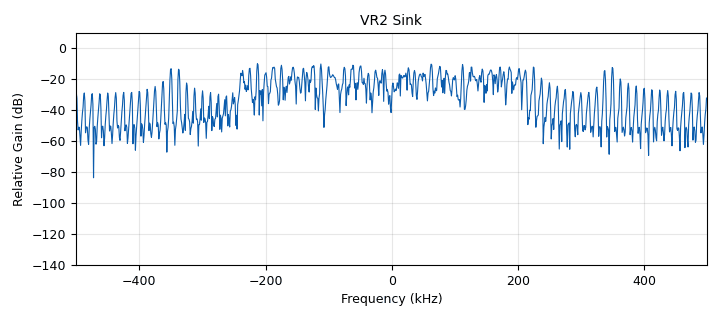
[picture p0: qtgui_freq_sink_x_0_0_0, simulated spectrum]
<?xml version='1.0' encoding='utf-8'?>
<?grc format='1' created='3.7.10'?>
<flow_graph>
<block>
<key>options</key>
<param><key>id</key><value>hydra_dump_to_files</value></param>
<param><key>category</key><value>Custom</value></param>
<param><key>description</key><value>Example of an OFDM Transmitter</value></param>
<param><key>generate_options</key><value>qt_gui</value></param>
<param><key>run_options</key><value>run</value></param>
<param><key>title</key><value>OFDM Tx</value></param>
</block>
<block>
<key>variable_qtgui_range</key>
<param><key>id</key><value>amplitude1</value></param>
<param><key>value</key><value>1.0</value></param>
<param><key>label</key><value>amplitude1</value></param>
<param><key>orient</key><value>Qt.Horizontal</value></param>
<param><key>start</key><value>0.0</value></param>
<param><key>step</key><value>0.01</value></param>
<param><key>stop</key><value>1.0</value></param>
</block>
<block>
<key>variable_qtgui_range</key>
<param><key>id</key><value>amplitude2</value></param>
<param><key>value</key><value>1.0</value></param>
<param><key>label</key><value>amplitude2</value></param>
<param><key>orient</key><value>Qt.Horizontal</value></param>
<param><key>start</key><value>0</value></param>
<param><key>step</key><value>0.01</value></param>
<param><key>stop</key><value>1.0</value></param>
</block>
<block>
<key>variable</key>
<param><key>id</key><value>fft_len</value></param>
<param><key>value</key><value>128</value></param>
</block>
<block>
<key>variable</key>
<param><key>id</key><value>length_tag_key</value></param>
<param><key>value</key><value>"packet_len"</value></param>
</block>
<block>
<key>variable</key>
<param><key>id</key><value>occupied_carriers</value></param>
<param><key>value</key><value>(sorted(tuple(set([x for x in range(-26,27)]) - set(pilot_carriers[0]) - set([0,]))),)</value></param>
</block>
<block>
<key>variable</key>
<param><key>id</key><value>packet_len</value></param>
<param><key>value</key><value>100</value></param>
</block>
<block>
<key>variable</key>
<param><key>id</key><value>pattern1</value></param>
<param><key>value</key><value>[0., 1.41421356, 0., -1.41421356]</value></param>
</block>
<block>
<key>variable</key>
<param><key>id</key><value>pattern2</value></param>
<param><key>value</key><value>[1, -1, 1, -1]</value></param>
</block>
<block>
<key>variable</key>
<param><key>id</key><value>pilot_carriers</value></param>
<param><key>value</key><value>((-42, -14, -7, 7, 14, 42),)</value></param>
</block>
<block>
<key>variable</key>
<param><key>id</key><value>pilot_symbols</value></param>
<param><key>value</key><value>((-1,1, 1, -1, -1, -1),)</value></param>
</block>
<block>
<key>variable</key>
<param><key>id</key><value>sync_word1</value></param>
<param><key>value</key><value>[0., 0., 0., 0., 0., 0.,] + pattern1 * ((fft_len-12)/len(pattern1))  +[0., 0., 0., 0., 0., 0.,] </value></param>
</block>
<block>
<key>variable</key>
<param><key>id</key><value>sync_word2</value></param>
<param><key>value</key><value>[0., 0., 0., 0., 0., 0.,] + pattern2 * ((fft_len-12)/len(pattern2))  +[0., 0., 0., 0., 0., 0.,] </value></param>
</block>
<block>
<key>parameter</key>
<param><key>id</key><value>amplitude1</value></param>
<param><key>_enabled</key><value>0</value></param>
<param><key>label</key><value>amplitude1</value></param>
<param><key>type</key><value>eng_float</value></param>
<param><key>value</key><value>0.1</value></param>
</block>
<block>
<key>parameter</key>
<param><key>id</key><value>amplitude2</value></param>
<param><key>_enabled</key><value>0</value></param>
<param><key>label</key><value>amplitude2</value></param>
<param><key>type</key><value>eng_float</value></param>
<param><key>value</key><value>0.1</value></param>
</block>
<block>
<key>analog_random_source_x</key>
<param><key>id</key><value>analog_random_source_x_0</value></param>
<param><key>max</key><value>5</value></param>
<param><key>min</key><value>0</value></param>
<param><key>num_samps</key><value>1000</value></param>
<param><key>type</key><value>byte</value></param>
<param><key>repeat</key><value>True</value></param>
</block>
<block>
<key>analog_random_source_x</key>
<param><key>id</key><value>analog_random_source_x_0_1</value></param>
<param><key>max</key><value>10</value></param>
<param><key>min</key><value>5</value></param>
<param><key>num_samps</key><value>1000</value></param>
<param><key>type</key><value>byte</value></param>
<param><key>repeat</key><value>True</value></param>
</block>
<block>
<key>blocks_file_sink</key>
<param><key>id</key><value>blocks_file_sink_0</value></param>
<param><key>file</key><value>filepattern + "-pre-vr1.bin"</value></param>
<param><key>type</key><value>complex</value></param>
</block>
<block>
<key>blocks_file_sink</key>
<param><key>id</key><value>blocks_file_sink_0_0</value></param>
<param><key>file</key><value>filepattern + "-pre-vr2.bin"</value></param>
<param><key>type</key><value>complex</value></param>
</block>
<block>
<key>blocks_file_sink</key>
<param><key>id</key><value>blocks_file_sink_0_0_0</value></param>
<param><key>file</key><value>filepattern + "-pos-vr2.bin"</value></param>
<param><key>type</key><value>complex</value></param>
</block>
<block>
<key>blocks_file_sink</key>
<param><key>id</key><value>blocks_file_sink_0_0_0_0</value></param>
<param><key>file</key><value>filepattern + "-pos-vr1.bin"</value></param>
<param><key>type</key><value>complex</value></param>
</block>
<block>
<key>blocks_head</key>
<param><key>id</key><value>blocks_head_0</value></param>
<param><key>num_items</key><value>int(50e6)</value></param>
<param><key>type</key><value>complex</value></param>
</block>
<block>
<key>blocks_head</key>
<param><key>id</key><value>blocks_head_0_0</value></param>
<param><key>num_items</key><value>int(50e6)</value></param>
<param><key>type</key><value>complex</value></param>
</block>
<block>
<key>blocks_keep_m_in_n</key>
<param><key>id</key><value>blocks_keep_m_in_n_0</value></param>
<param><key>_enabled</key><value>2</value></param>
<param><key>m</key><value>vr1fft</value></param>
<param><key>n</key><value>fftm</value></param>
<param><key>type</key><value>complex</value></param>
<param><key>offset</key><value>vr1offset</value></param>
</block>
<block>
<key>blocks_keep_m_in_n</key>
<param><key>id</key><value>blocks_keep_m_in_n_0_0</value></param>
<param><key>_enabled</key><value>2</value></param>
<param><key>m</key><value>vr2fft</value></param>
<param><key>n</key><value>fftm</value></param>
<param><key>type</key><value>complex</value></param>
<param><key>offset</key><value>vr2offset</value></param>
</block>
<block>
<key>blocks_multiply_const_vxx</key>
<param><key>id</key><value>blocks_multiply_const_vxx_0</value></param>
<param><key>const</key><value>amplitude1</value></param>
<param><key>type</key><value>complex</value></param>
</block>
<block>
<key>blocks_multiply_const_vxx</key>
<param><key>id</key><value>blocks_multiply_const_vxx_0_0</value></param>
<param><key>const</key><value>amplitude2</value></param>
<param><key>type</key><value>complex</value></param>
</block>
<block>
<key>blocks_multiply_const_vxx</key>
<param><key>id</key><value>blocks_multiply_const_vxx_1</value></param>
<param><key>const</key><value>1.0/vr1fft</value></param>
<param><key>_enabled</key><value>2</value></param>
<param><key>type</key><value>complex</value></param>
</block>
<block>
<key>blocks_multiply_const_vxx</key>
<param><key>id</key><value>blocks_multiply_const_vxx_1_0</value></param>
<param><key>const</key><value>1.0/vr2fft</value></param>
<param><key>_enabled</key><value>2</value></param>
<param><key>type</key><value>complex</value></param>
</block>
<block>
<key>blocks_stream_to_tagged_stream</key>
<param><key>id</key><value>blocks_stream_to_tagged_stream_0</value></param>
<param><key>len_tag_key</key><value>length_tag_key</value></param>
<param><key>packet_len</key><value>packet_len</value></param>
<param><key>type</key><value>byte</value></param>
</block>
<block>
<key>blocks_stream_to_tagged_stream</key>
<param><key>id</key><value>blocks_stream_to_tagged_stream_0_1</value></param>
<param><key>len_tag_key</key><value>length_tag_key</value></param>
<param><key>packet_len</key><value>packet_len/2</value></param>
<param><key>type</key><value>byte</value></param>
</block>
<block>
<key>blocks_stream_to_vector</key>
<param><key>id</key><value>blocks_stream_to_vector_0</value></param>
<param><key>_enabled</key><value>2</value></param>
<param><key>type</key><value>complex</value></param>
<param><key>num_items</key><value>fftm</value></param>
</block>
<block>
<key>blocks_stream_to_vector</key>
<param><key>id</key><value>blocks_stream_to_vector_0_0</value></param>
<param><key>_enabled</key><value>2</value></param>
<param><key>type</key><value>complex</value></param>
<param><key>num_items</key><value>vr1fft</value></param>
</block>
<block>
<key>blocks_stream_to_vector</key>
<param><key>id</key><value>blocks_stream_to_vector_0_0_0</value></param>
<param><key>_enabled</key><value>2</value></param>
<param><key>type</key><value>complex</value></param>
<param><key>num_items</key><value>vr2fft</value></param>
</block>
<block>
<key>blocks_stream_to_vector</key>
<param><key>id</key><value>blocks_stream_to_vector_0_1</value></param>
<param><key>_enabled</key><value>2</value></param>
<param><key>type</key><value>complex</value></param>
<param><key>num_items</key><value>fftm</value></param>
</block>
<block>
<key>blocks_throttle</key>
<param><key>id</key><value>blocks_throttle_0</value></param>
<param><key>samples_per_second</key><value>6e6</value></param>
<param><key>type</key><value>complex</value></param>
</block>
<block>
<key>blocks_throttle</key>
<param><key>id</key><value>blocks_throttle_1</value></param>
<param><key>samples_per_second</key><value>6e6</value></param>
<param><key>type</key><value>complex</value></param>
</block>
<block>
<key>blocks_vector_to_stream</key>
<param><key>id</key><value>blocks_vector_to_stream_0</value></param>
<param><key>_enabled</key><value>2</value></param>
<param><key>type</key><value>complex</value></param>
<param><key>num_items</key><value>fftm</value></param>
</block>
<block>
<key>blocks_vector_to_stream</key>
<param><key>id</key><value>blocks_vector_to_stream_0_0</value></param>
<param><key>_enabled</key><value>2</value></param>
<param><key>type</key><value>complex</value></param>
<param><key>num_items</key><value>vr1fft</value></param>
</block>
<block>
<key>blocks_vector_to_stream</key>
<param><key>id</key><value>blocks_vector_to_stream_0_0_0</value></param>
<param><key>_enabled</key><value>2</value></param>
<param><key>type</key><value>complex</value></param>
<param><key>num_items</key><value>vr2fft</value></param>
</block>
<block>
<key>blocks_vector_to_stream</key>
<param><key>id</key><value>blocks_vector_to_stream_0_1</value></param>
<param><key>_enabled</key><value>2</value></param>
<param><key>type</key><value>complex</value></param>
<param><key>num_items</key><value>fftm</value></param>
</block>
<block>
<key>digital_ofdm_tx</key>
<param><key>id</key><value>digital_ofdm_tx_0</value></param>
<param><key>cp_len</key><value>16</value></param>
<param><key>fft_len</key><value>128</value></param>
<param><key>header_mod</key><value>"BPSK"</value></param>
<param><key>packet_len_key</key><value>length_tag_key</value></param>
<param><key>occupied_carriers</key><value>(sorted(tuple(set([x for x in range(-60,60)]) - set(pilot_carriers[0]) - set([0,]))),)</value></param>
<param><key>payload_mod</key><value>"BPSK"</value></param>
<param><key>pilot_carriers</key><value>pilot_carriers</value></param>
<param><key>pilot_symbols</key><value>pilot_symbols</value></param>
<param><key>rolloff</key><value>0</value></param>
<param><key>sync_word1</key><value>sync_word1</value></param>
<param><key>sync_word2</key><value>sync_word2</value></param>
</block>
<block>
<key>digital_ofdm_tx</key>
<param><key>id</key><value>digital_ofdm_tx_0_1</value></param>
<param><key>cp_len</key><value>16</value></param>
<param><key>fft_len</key><value>64</value></param>
<param><key>header_mod</key><value>"BPSK"</value></param>
<param><key>packet_len_key</key><value>length_tag_key</value></param>
<param><key>occupied_carriers</key><value>(sorted(tuple(set([x for x in range(-15,15)]) - set(pilot_carriers[0]) - set([0,]))),)</value></param>
<param><key>payload_mod</key><value>"BPSK"</value></param>
<param><key>pilot_carriers</key><value>pilot_carriers</value></param>
<param><key>pilot_symbols</key><value>pilot_symbols</value></param>
<param><key>rolloff</key><value>0</value></param>
<param><key>sync_word1</key><value>[0., 0., 0., 0., 0., 0.,] + pattern1 * ((64-12)/len(pattern1))  +[0., 0., 0., 0., 0., 0.,] </value></param>
<param><key>sync_word2</key><value>[0., 0., 0., 0., 0., 0.,] + pattern2 * ((64-12)/len(pattern2))  +[0., 0., 0., 0., 0., 0.,] </value></param>
</block>
<block>
<key>fft_vxx</key>
<param><key>id</key><value>fft_vxx_0</value></param>
<param><key>_enabled</key><value>2</value></param>
<param><key>fft_size</key><value>fftm</value></param>
<param><key>forward</key><value>True</value></param>
<param><key>type</key><value>complex</value></param>
<param><key>shift</key><value>True</value></param>
<param><key>window</key><value>window.blackmanharris(fftm)</value></param>
</block>
<block>
<key>fft_vxx</key>
<param><key>id</key><value>fft_vxx_0_0</value></param>
<param><key>_enabled</key><value>2</value></param>
<param><key>fft_size</key><value>vr1fft</value></param>
<param><key>forward</key><value>False</value></param>
<param><key>type</key><value>complex</value></param>
<param><key>shift</key><value>True</value></param>
<param><key>window</key><value>window.rectangular(vr1fft)</value></param>
</block>
<block>
<key>fft_vxx</key>
<param><key>id</key><value>fft_vxx_0_0_0</value></param>
<param><key>_enabled</key><value>2</value></param>
<param><key>fft_size</key><value>vr2fft</value></param>
<param><key>forward</key><value>False</value></param>
<param><key>type</key><value>complex</value></param>
<param><key>shift</key><value>True</value></param>
<param><key>window</key><value>window.rectangular(vr2fft)</value></param>
</block>
<block>
<key>fft_vxx</key>
<param><key>id</key><value>fft_vxx_0_1</value></param>
<param><key>_enabled</key><value>2</value></param>
<param><key>fft_size</key><value>fftm</value></param>
<param><key>forward</key><value>True</value></param>
<param><key>type</key><value>complex</value></param>
<param><key>shift</key><value>True</value></param>
<param><key>window</key><value>window.blackmanharris(fftm)</value></param>
</block>
<block>
<key>parameter</key>
<param><key>id</key><value>fftm</value></param>
<param><key>label</key><value>fftm</value></param>
<param><key>type</key><value>intx</value></param>
<param><key>value</key><value>128</value></param>
</block>
<block>
<key>parameter</key>
<param><key>id</key><value>filepattern</value></param>
<param><key>label</key><value>filepattern</value></param>
<param><key>type</key><value>string</value></param>
<param><key>value</key><value>"./"</value></param>
</block>
<block>
<key>parameter</key>
<param><key>id</key><value>freq</value></param>
<param><key>label</key><value>freq</value></param>
<param><key>value</key><value>950e6</value></param>
</block>
<block>
<key>parameter</key>
<param><key>id</key><value>freq1</value></param>
<param><key>label</key><value>freq1</value></param>
<param><key>value</key><value>947.5e6</value></param>
</block>
<block>
<key>parameter</key>
<param><key>id</key><value>freq2</value></param>
<param><key>label</key><value>freq2</value></param>
<param><key>value</key><value>951e6</value></param>
</block>
<block>
<key>hydra_hydra_sink</key>
<param><key>id</key><value>hydra_hydra_sink_0</value></param>
<param><key>bandwidth</key><value>samprate</value></param>
<param><key>central_frequency</key><value>freq</value></param>
<param><key>fft_m_size</key><value>fftm</value></param>
<param><key>center_freq1</key><value>freq</value></param>
<param><key>center_freq2</key><value>freq2</value></param>
<param><key>center_freq3</key><value></value></param>
<param><key>center_freq4</key><value></value></param>
<param><key>num_inputs</key><value>1</value></param>
<param><key>samprate1</key><value>samprate</value></param>
<param><key>samprate2</key><value>samprate2</value></param>
<param><key>samprate3</key><value></value></param>
<param><key>samprate4</key><value></value></param>
</block>
<block>
<key>qtgui_freq_sink_x</key>
<param><key>id</key><value>qtgui_freq_sink_x_0</value></param>
<param><key>bw</key><value>1e6</value></param>
<param><key>fc</key><value>0</value></param>
<param><key>_enabled</key><value>0</value></param>
<param><key>fftsize</key><value>1024</value></param>
<param><key>showports</key><value>True</value></param>
<param><key>type</key><value>complex</value></param>
<param><key>wintype</key><value>firdes.WIN_BLACKMAN_hARRIS</value></param>
</block>
<block>
<key>qtgui_freq_sink_x</key>
<param><key>id</key><value>qtgui_freq_sink_x_0_0</value></param>
<param><key>bw</key><value>1e6</value></param>
<param><key>fc</key><value>0</value></param>
<param><key>fftsize</key><value>1024</value></param>
<param><key>name</key><value>"VR1 Sink"</value></param>
<param><key>showports</key><value>True</value></param>
<param><key>type</key><value>complex</value></param>
<param><key>wintype</key><value>firdes.WIN_BLACKMAN_hARRIS</value></param>
</block>
<block>
<key>qtgui_freq_sink_x</key>
<param><key>id</key><value>qtgui_freq_sink_x_0_0_0</value></param>
<param><key>bw</key><value>1e6</value></param>
<param><key>fc</key><value>0</value></param>
<param><key>fftsize</key><value>1024</value></param>
<param><key>name</key><value>"VR2 Sink"</value></param>
<param><key>showports</key><value>True</value></param>
<param><key>type</key><value>complex</value></param>
<param><key>wintype</key><value>firdes.WIN_BLACKMAN_hARRIS</value></param>
</block>
<block>
<key>parameter</key>
<param><key>id</key><value>samprate</value></param>
<param><key>label</key><value>samprate</value></param>
<param><key>value</key><value>6e6</value></param>
</block>
<block>
<key>parameter</key>
<param><key>id</key><value>samprate1</value></param>
<param><key>label</key><value>samprate1</value></param>
<param><key>value</key><value>1e6</value></param>
</block>
<block>
<key>parameter</key>
<param><key>id</key><value>samprate2</value></param>
<param><key>label</key><value>samprate2</value></param>
<param><key>value</key><value>500e3</value></param>
</block>
<block>
<key>virtual_sink</key>
<param><key>id</key><value>virtual_sink_0</value></param>
<param><key>stream_id</key><value>VR1</value></param>
</block>
<block>
<key>virtual_sink</key>
<param><key>id</key><value>virtual_sink_0_1</value></param>
<param><key>stream_id</key><value>VR2</value></param>
</block>
<block>
<key>virtual_sink</key>
<param><key>id</key><value>virtual_sink_0_1_0</value></param>
<param><key>stream_id</key><value>Hydra output</value></param>
</block>
<block>
<key>virtual_source</key>
<param><key>id</key><value>virtual_source_0</value></param>
<param><key>stream_id</key><value>VR1</value></param>
</block>
<block>
<key>virtual_source</key>
<param><key>id</key><value>virtual_source_0_1</value></param>
<param><key>stream_id</key><value>VR2</value></param>
</block>
<block>
<key>virtual_source</key>
<param><key>id</key><value>virtual_source_0_1_0</value></param>
<param><key>stream_id</key><value>Hydra output</value></param>
</block>
<block>
<key>virtual_source</key>
<param><key>id</key><value>virtual_source_0_1_0_0</value></param>
<param><key>_enabled</key><value>0</value></param>
<param><key>stream_id</key><value>Hydra output</value></param>
</block>
<block>
<key>parameter</key>
<param><key>id</key><value>vr1fft</value></param>
<param><key>label</key><value>vr1fft</value></param>
<param><key>type</key><value>intx</value></param>
<param><key>value</key><value>512</value></param>
</block>
<block>
<key>parameter</key>
<param><key>id</key><value>vr1offset</value></param>
<param><key>label</key><value>vr1offset</value></param>
<param><key>type</key><value>intx</value></param>
<param><key>value</key><value>0</value></param>
</block>
<block>
<key>parameter</key>
<param><key>id</key><value>vr2fft</value></param>
<param><key>label</key><value>vr2fft</value></param>
<param><key>type</key><value>intx</value></param>
<param><key>value</key><value>512</value></param>
</block>
<block>
<key>parameter</key>
<param><key>id</key><value>vr2offset</value></param>
<param><key>label</key><value>vr2offset</value></param>
<param><key>type</key><value>intx</value></param>
<param><key>value</key><value>319</value></param>
</block>
<connection><source_block_id>analog_random_source_x_0</source_block_id><sink_block_id>blocks_stream_to_tagged_stream_0</sink_block_id><source_key>0</source_key><sink_key>0</sink_key></connection>
<connection><source_block_id>analog_random_source_x_0_1</source_block_id><sink_block_id>blocks_stream_to_tagged_stream_0_1</sink_block_id><source_key>0</source_key><sink_key>0</sink_key></connection>
<connection><source_block_id>blocks_head_0</source_block_id><sink_block_id>blocks_throttle_0</sink_block_id><source_key>0</source_key><sink_key>0</sink_key></connection>
<connection><source_block_id>blocks_head_0</source_block_id><sink_block_id>qtgui_freq_sink_x_0</sink_block_id><source_key>0</source_key><sink_key>0</sink_key></connection>
<connection><source_block_id>blocks_head_0_0</source_block_id><sink_block_id>virtual_sink_0_1</sink_block_id><source_key>0</source_key><sink_key>0</sink_key></connection>
<connection><source_block_id>blocks_keep_m_in_n_0</source_block_id><sink_block_id>blocks_stream_to_vector_0_0</sink_block_id><source_key>0</source_key><sink_key>0</sink_key></connection>
<connection><source_block_id>blocks_keep_m_in_n_0_0</source_block_id><sink_block_id>blocks_stream_to_vector_0_0_0</sink_block_id><source_key>0</source_key><sink_key>0</sink_key></connection>
<connection><source_block_id>blocks_multiply_const_vxx_0</source_block_id><sink_block_id>virtual_sink_0</sink_block_id><source_key>0</source_key><sink_key>0</sink_key></connection>
<connection><source_block_id>blocks_multiply_const_vxx_0_0</source_block_id><sink_block_id>blocks_throttle_1</sink_block_id><source_key>0</source_key><sink_key>0</sink_key></connection>
<connection><source_block_id>blocks_multiply_const_vxx_1</source_block_id><sink_block_id>blocks_file_sink_0_0_0_0</sink_block_id><source_key>0</source_key><sink_key>0</sink_key></connection>
<connection><source_block_id>blocks_multiply_const_vxx_1</source_block_id><sink_block_id>qtgui_freq_sink_x_0_0</sink_block_id><source_key>0</source_key><sink_key>0</sink_key></connection>
<connection><source_block_id>blocks_multiply_const_vxx_1_0</source_block_id><sink_block_id>blocks_file_sink_0_0_0</sink_block_id><source_key>0</source_key><sink_key>0</sink_key></connection>
<connection><source_block_id>blocks_multiply_const_vxx_1_0</source_block_id><sink_block_id>qtgui_freq_sink_x_0_0_0</sink_block_id><source_key>0</source_key><sink_key>0</sink_key></connection>
<connection><source_block_id>blocks_stream_to_tagged_stream_0</source_block_id><sink_block_id>digital_ofdm_tx_0</sink_block_id><source_key>0</source_key><sink_key>0</sink_key></connection>
<connection><source_block_id>blocks_stream_to_tagged_stream_0_1</source_block_id><sink_block_id>digital_ofdm_tx_0_1</sink_block_id><source_key>0</source_key><sink_key>0</sink_key></connection>
<connection><source_block_id>blocks_stream_to_vector_0</source_block_id><sink_block_id>fft_vxx_0</sink_block_id><source_key>0</source_key><sink_key>0</sink_key></connection>
<connection><source_block_id>blocks_stream_to_vector_0_0</source_block_id><sink_block_id>fft_vxx_0_0</sink_block_id><source_key>0</source_key><sink_key>0</sink_key></connection>
<connection><source_block_id>blocks_stream_to_vector_0_0_0</source_block_id><sink_block_id>fft_vxx_0_0_0</sink_block_id><source_key>0</source_key><sink_key>0</sink_key></connection>
<connection><source_block_id>blocks_stream_to_vector_0_1</source_block_id><sink_block_id>fft_vxx_0_1</sink_block_id><source_key>0</source_key><sink_key>0</sink_key></connection>
<connection><source_block_id>blocks_throttle_0</source_block_id><sink_block_id>virtual_sink_0_1_0</sink_block_id><source_key>0</source_key><sink_key>0</sink_key></connection>
<connection><source_block_id>blocks_throttle_1</source_block_id><sink_block_id>blocks_head_0_0</sink_block_id><source_key>0</source_key><sink_key>0</sink_key></connection>
<connection><source_block_id>blocks_vector_to_stream_0</source_block_id><sink_block_id>blocks_keep_m_in_n_0</sink_block_id><source_key>0</source_key><sink_key>0</sink_key></connection>
<connection><source_block_id>blocks_vector_to_stream_0_0</source_block_id><sink_block_id>blocks_multiply_const_vxx_1</sink_block_id><source_key>0</source_key><sink_key>0</sink_key></connection>
<connection><source_block_id>blocks_vector_to_stream_0_0_0</source_block_id><sink_block_id>blocks_multiply_const_vxx_1_0</sink_block_id><source_key>0</source_key><sink_key>0</sink_key></connection>
<connection><source_block_id>blocks_vector_to_stream_0_1</source_block_id><sink_block_id>blocks_keep_m_in_n_0_0</sink_block_id><source_key>0</source_key><sink_key>0</sink_key></connection>
<connection><source_block_id>digital_ofdm_tx_0</source_block_id><sink_block_id>blocks_multiply_const_vxx_0</sink_block_id><source_key>0</source_key><sink_key>0</sink_key></connection>
<connection><source_block_id>digital_ofdm_tx_0_1</source_block_id><sink_block_id>blocks_multiply_const_vxx_0_0</sink_block_id><source_key>0</source_key><sink_key>0</sink_key></connection>
<connection><source_block_id>fft_vxx_0</source_block_id><sink_block_id>blocks_vector_to_stream_0</sink_block_id><source_key>0</source_key><sink_key>0</sink_key></connection>
<connection><source_block_id>fft_vxx_0_0</source_block_id><sink_block_id>blocks_vector_to_stream_0_0</sink_block_id><source_key>0</source_key><sink_key>0</sink_key></connection>
<connection><source_block_id>fft_vxx_0_0_0</source_block_id><sink_block_id>blocks_vector_to_stream_0_0_0</sink_block_id><source_key>0</source_key><sink_key>0</sink_key></connection>
<connection><source_block_id>fft_vxx_0_1</source_block_id><sink_block_id>blocks_vector_to_stream_0_1</sink_block_id><source_key>0</source_key><sink_key>0</sink_key></connection>
<connection><source_block_id>hydra_hydra_sink_0</source_block_id><sink_block_id>blocks_head_0</sink_block_id><source_key>0</source_key><sink_key>0</sink_key></connection>
<connection><source_block_id>virtual_source_0</source_block_id><sink_block_id>blocks_file_sink_0</sink_block_id><source_key>0</source_key><sink_key>0</sink_key></connection>
<connection><source_block_id>virtual_source_0</source_block_id><sink_block_id>hydra_hydra_sink_0</sink_block_id><source_key>0</source_key><sink_key>0</sink_key></connection>
<connection><source_block_id>virtual_source_0_1</source_block_id><sink_block_id>blocks_file_sink_0_0</sink_block_id><source_key>0</source_key><sink_key>0</sink_key></connection>
<connection><source_block_id>virtual_source_0_1</source_block_id><sink_block_id>blocks_stream_to_vector_0_1</sink_block_id><source_key>0</source_key><sink_key>0</sink_key></connection>
<connection><source_block_id>virtual_source_0_1_0</source_block_id><sink_block_id>blocks_stream_to_vector_0</sink_block_id><source_key>0</source_key><sink_key>0</sink_key></connection>
<connection><source_block_id>virtual_source_0_1_0_0</source_block_id><sink_block_id>blocks_stream_to_vector_0_1</sink_block_id><source_key>0</source_key><sink_key>0</sink_key></connection>
</flow_graph>
